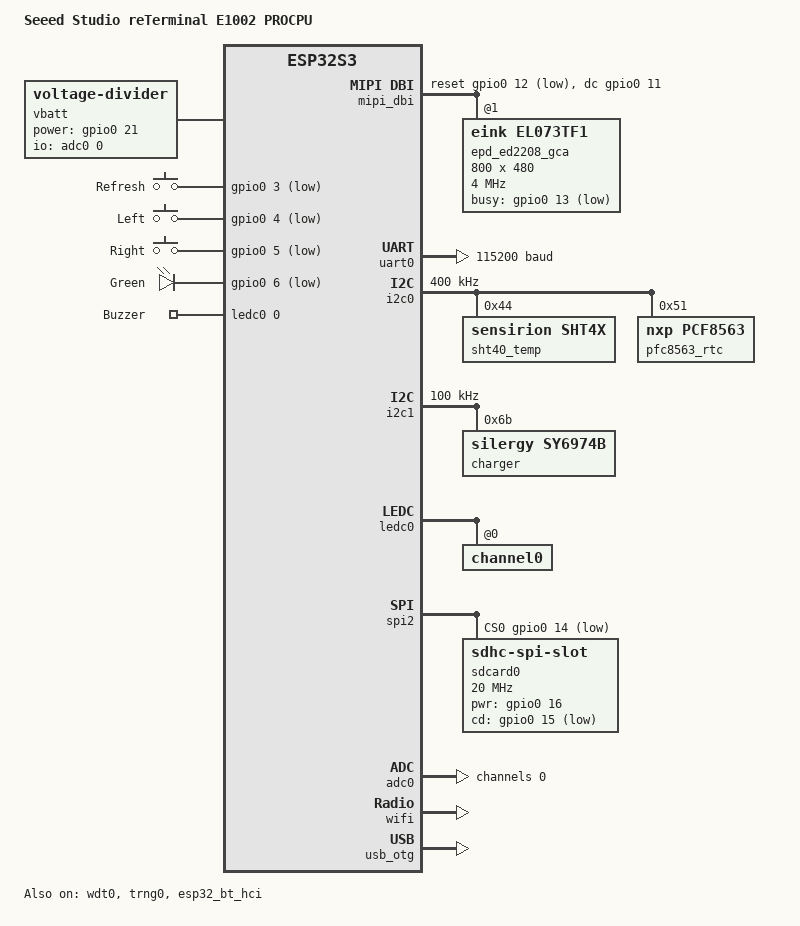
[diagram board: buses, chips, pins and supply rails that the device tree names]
/*
 * Copyright (c) 2025 Benjamin Lemouzy
 *
 * SPDX-License-Identifier: Apache-2.0
 */

/dts-v1/;

#include <freq.h>
#include <espressif/esp32s3/esp32s3_r8.dtsi>
#include <zephyr/dt-bindings/adc/adc.h>
#include <zephyr/dt-bindings/input/input-event-codes.h>
#include <zephyr/dt-bindings/pwm/pwm.h>
#include <zephyr/dt-bindings/display/panel.h>
#include <espressif/partitions_0x0_amp_32M.dtsi>
#include "reterminal_e1002-pinctrl.dtsi"

/ {
	model = "Seeed Studio reTerminal E1002 PROCPU";
	compatible = "seeed,reterminal-e1002";

	chosen {
		zephyr,sram = &sram1;
		zephyr,console = &uart0;
		zephyr,shell-uart = &uart0;
		zephyr,flash = &flash0;
		zephyr,code-partition = &slot0_partition;
		zephyr,bt-hci = &esp32_bt_hci;
		zephyr,sdhc = &sdcard0;
		zephyr,display = &epd_ed2208_gca;
	};

	aliases {
		i2c-0 = &i2c0;
		i2c-1 = &i2c1;
		led0 = &green_led0;
		pwm-led0 = &buzzer0;
		rtc = &pfc8563_rtc;
		sdhc0 = &sdcard0;
		sw0 = &refresh_key0;
		sw1 = &left_key1;
		sw2 = &right_key2;
		uart-0 = &uart0;
		uart-1 = &uart1;
		watchdog0 = &wdt0;
	};

	vbatt: vbatt {
		compatible = "voltage-divider";
		io-channels = <&adc0 0>;
		output-ohms = <10000>;
		full-ohms = <20000>;
		power-gpios = <&gpio0 21 GPIO_ACTIVE_HIGH>;
		power-on-sample-delay-us = <10000>;
		skip-calibration;
	};

	buttons {
		compatible = "gpio-keys";

		refresh_key0: button_0 {
			gpios = <&gpio0 3 (GPIO_PULL_UP | GPIO_ACTIVE_LOW)>;
			label = "Refresh";
			zephyr,code = <INPUT_KEY_0>;
		};

		left_key1: button_1 {
			gpios = <&gpio0 4 (GPIO_PULL_UP | GPIO_ACTIVE_LOW)>;
			label = "Left";
			zephyr,code = <INPUT_KEY_1>;
		};

		right_key2: button_2 {
			gpios = <&gpio0 5 (GPIO_PULL_UP | GPIO_ACTIVE_LOW)>;
			label = "Right";
			zephyr,code = <INPUT_KEY_2>;
		};
	};

	leds {
		compatible = "gpio-leds";

		green_led0: led_0 {
			gpios = <&gpio0 6 GPIO_ACTIVE_LOW>;
			label = "Green";
		};
	};

	pwmleds {
		compatible = "pwm-leds";

		buzzer0: pwmled_0 {
			pwms = <&ledc0 0 PWM_HZ(50) PWM_POLARITY_NORMAL>;
			label = "Buzzer";
		};
	};

	mipi_dbi: mipi_dbi {
		compatible = "zephyr,mipi-dbi-spi";
		spi-dev = <&spi2>;
		dc-gpios = <&gpio0 11 GPIO_ACTIVE_HIGH>;
		reset-gpios = <&gpio0 12 GPIO_ACTIVE_LOW>;
		write-only;
		#address-cells = <1>;
		#size-cells = <0>;

		epd_ed2208_gca: ed2208_gca@1 {
			compatible = "eink,el073tf1", "eink,ed2208-gca";
			mipi-max-frequency = <DT_FREQ_M(4)>;
			reg = <1>;
			width = <800>;
			height = <480>;
			busy-gpios = <&gpio0 13 (GPIO_ACTIVE_LOW | GPIO_PULL_UP)>;

			color-palette {
				compatible = "zephyr,panel-color-palette";

				colors = <ARGB8888(0,   0,   0,   255) /* 0x00 = Black */
					  ARGB8888(245, 245, 240, 255) /* 0x01 = White */
					  ARGB8888(230, 200, 40,  255) /* 0x02 = Yellow */
					  ARGB8888(196, 50,  58,  255) /* 0x03 = Red */
					  PANEL_COLOR_PALETTE_NULL /* 0x04 = Unused / reserved */
					  ARGB8888(40,  85,  180, 255) /* 0x05 = Blue */
					  ARGB8888(60,  140, 75,  255) /* 0x06 = Green */ >;
			};
		};
	};
};

&dma {
	status = "okay";
};

&flash0 {
	reg = <0x0 DT_SIZE_M(32)>;
	ranges = <0x0 0x0 DT_SIZE_M(32)>;
};

&uart0 {
	status = "okay";
	current-speed = <115200>;
	pinctrl-0 = <&uart0_default>;
	pinctrl-names = "default";
};

&uart1 {
	status = "disabled";
	current-speed = <115200>;
	pinctrl-0 = <&uart1_default>;
	pinctrl-names = "default";
};

&i2c0 {
	status = "okay";
	clock-frequency = <I2C_BITRATE_FAST>;
	pinctrl-0 = <&i2c0_default>;
	pinctrl-names = "default";

	sht40_temp: sht4x@44 {
		status = "okay";
		compatible = "sensirion,sht4x";
		reg = <0x44>;
		repeatability = <2>;
	};

	pfc8563_rtc: pfc8563@51 {
		status = "okay";
		compatible = "nxp,pcf8563";
		reg = <0x51>;
	};
};

&i2c1 {
	status = "okay";
	clock-frequency = <I2C_BITRATE_STANDARD>;
	pinctrl-0 = <&i2c1_default>;
	pinctrl-names = "default";

	charger: sy6974b@6b {
		compatible = "silergy,sy6974b";
		reg = <0x6b>;
		constant-charge-current-max-microamp = <500000>;
		constant-charge-voltage-max-microvolt = <4208000>;
	};
};

&ledc0 {
	status = "okay";
	#address-cells = <1>;
	#size-cells = <0>;
	pinctrl-0 = <&ledc0_default>;
	pinctrl-names = "default";

	channel0@0 {
		reg = <0x0>;
		timer = <0>;
	};
};

&gpio0 {
	status = "okay";
};

&gpio1 {
	status = "okay";
};

&spi2 {
	#address-cells = <1>;
	#size-cells = <0>;
	status = "okay";
	pinctrl-0 = <&spim2_default>;
	pinctrl-names = "default";
	cs-gpios = <&gpio0 14 GPIO_ACTIVE_LOW>, <&gpio0 10 GPIO_ACTIVE_LOW>;

	sdcard0: sdhc@0 {
		compatible = "zephyr,sdhc-spi-slot";
		reg = <0>;
		status = "okay";
		spi-max-frequency = <DT_FREQ_M(20)>;
		pwr-gpios = <&gpio0 16 GPIO_ACTIVE_HIGH>;
		cd-gpios = <&gpio0 15 GPIO_ACTIVE_LOW>;
		power-delay-ms = <5>;

		mmc {
			compatible = "zephyr,sdmmc-disk";
			disk-name = "SD";
			status = "okay";
		};
	};
};

&adc0 {
	status = "okay";
	#address-cells = <1>;
	#size-cells = <0>;

	channel@0 {
		reg = <0>;
		zephyr,gain = "ADC_GAIN_1_4";
		zephyr,reference = "ADC_REF_INTERNAL";
		zephyr,acquisition-time = <ADC_ACQ_TIME_DEFAULT>;
		zephyr,resolution = <12>;
	};
};

&timer0 {
	status = "disabled";
};

&timer1 {
	status = "disabled";
};

&timer2 {
	status = "disabled";
};

&timer3 {
	status = "disabled";
};

&wdt0 {
	status = "okay";
};

&trng0 {
	status = "okay";
};

&usb_serial {
	status = "disabled";
};

&esp32_bt_hci {
	status = "okay";
};

&wifi {
	status = "okay";
};

zephyr_udc0: &usb_otg {
	status = "okay";
};
